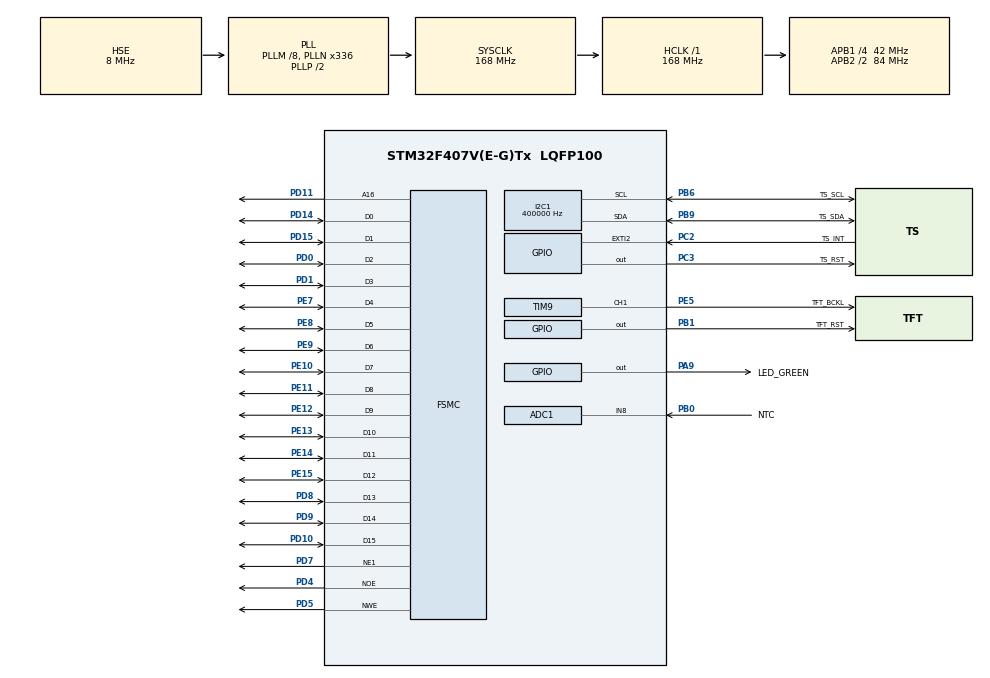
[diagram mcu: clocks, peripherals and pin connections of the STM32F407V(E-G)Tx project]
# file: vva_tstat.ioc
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ADC1.Channel-0\#ChannelRegularConversion=ADC_CHANNEL_8
ADC1.master=1
FSMC.AddressSetupTime1=2
FSMC.BusTurnAroundDuration1=1
FSMC.DataSetupTime1=5
I2C1.ClockSpeed=400000
Mcu.Family=STM32F4
Mcu.Name=STM32F407V(E-G)Tx
Mcu.Package=LQFP100
NVIC.ADC_IRQn=true\:2\:0\:true
NVIC.EXTI2_IRQn=true\:1\:0\:true
NVIC.PriorityGroup=NVIC_PRIORITYGROUP_2
PA13.GPIO_Label=SWDIO
PA13.Mode=Trace-Asynchronous_SW
PA13.Signal=SYS_JTMS-SWDIO
PA14.GPIO_Label=SWCLK
PA14.Mode=Trace-Asynchronous_SW
PA14.Signal=SYS_JTCK-SWCLK
PA9.GPIO_Label=LED_GREEN
PA9.GPIO_ModeDefaultOutputPP=GPIO_MODE_OUTPUT_PP
PA9.GPIO_PuPd=GPIO_NOPULL
PA9.GPIO_Speed=GPIO_SPEED_LOW
PA9.Signal=GPIO_Output
PB0.GPIO_Label=NTC
PB0.GPIO_Mode=GPIO_MODE_ANALOG
PB0.GPIO_PuPd=GPIO_NOPULL
PB0.Signal=ADCx_IN8
PB1.GPIO_Label=TFT_RST
PB1.GPIO_ModeDefaultOutputPP=GPIO_MODE_OUTPUT_PP
PB1.GPIO_PuPd=GPIO_NOPULL
PB1.GPIO_Speed=GPIO_SPEED_LOW
PB1.Signal=GPIO_Output
PB3.GPIO_Label=SWO
PB3.Mode=Trace-Asynchronous_SW
PB3.Signal=SYS_JTDO-SWO
PB6.GPIO_Label=TS_SCL
PB6.GPIO_Mode=GPIO_MODE_AF_OD
PB6.GPIO_PuPdOD=GPIO_PULLUP
PB6.GPIO_Speed=GPIO_SPEED_LOW
PB6.Mode=I2C
PB6.Signal=I2C1_SCL
PB9.GPIO_Label=TS_SDA
PB9.GPIO_Mode=GPIO_MODE_AF_OD
PB9.GPIO_PuPdOD=GPIO_PULLUP
PB9.GPIO_Speed=GPIO_SPEED_LOW
PB9.Mode=I2C
PB9.Signal=I2C1_SDA
PC2.GPIO_Label=TS_INT
PC2.GPIO_ModeDefaultEXTI=GPIO_MODE_IT_FALLING
PC2.GPIO_PuPd=GPIO_NOPULL
PC2.Signal=GPXTI2
PC3.GPIO_Label=TS_RST
PC3.GPIO_ModeDefaultOutputPP=GPIO_MODE_OUTPUT_PP
PC3.GPIO_PuPd=GPIO_NOPULL
PC3.GPIO_Speed=GPIO_SPEED_LOW
PC3.Signal=GPIO_Output
PD0.Signal=FSMC_D2_DA2
PD1.Signal=FSMC_D3_DA3
PD10.Signal=FSMC_D15_DA15
PD11.Signal=FSMC_A16_CLE
PD14.Signal=FSMC_D0_DA0
PD15.Signal=FSMC_D1_DA1
PD4.Signal=FSMC_NOE
PD5.Signal=FSMC_NWE
PD7.Mode=NorPsramChipSelect1_1
PD7.Signal=FSMC_NE1
PD8.Signal=FSMC_D13_DA13
PD9.Signal=FSMC_D14_DA14
PE10.Signal=FSMC_D7_DA7
PE11.Signal=FSMC_D8_DA8
PE12.Signal=FSMC_D9_DA9
PE13.Signal=FSMC_D10_DA10
PE14.Signal=FSMC_D11_DA11
PE15.Signal=FSMC_D12_DA12
PE5.GPIO_Label=TFT_BCKL
PE5.GPIO_ModeDefaultPP=GPIO_MODE_AF_PP
PE5.GPIO_PuPd=GPIO_NOPULL
PE5.GPIO_Speed=GPIO_SPEED_LOW
PE5.Signal=S_TIM9_CH1
PE7.Signal=FSMC_D4_DA4
PE8.Signal=FSMC_D5_DA5
PE9.Signal=FSMC_D6_DA6
PH0-OSC_IN.GPIO_Label=PH0-OSC_IN
PH0-OSC_IN.Mode=HSE-External-Oscillator
PH0-OSC_IN.Signal=RCC_OSC_IN
PH1-OSC_OUT.GPIO_Label=PH1-OSC_OUT
PH1-OSC_OUT.Mode=HSE-External-Oscillator
PH1-OSC_OUT.Signal=RCC_OSC_OUT
ProjectManager.TargetToolchain=TrueSTUDIO 4.3.1
RCC.48MHZClocksFreq_Value=48000000
RCC.AHBFreq_Value=168000000
RCC.APB1CLKDivider=RCC_HCLK_DIV4
RCC.APB1Freq_Value=42000000
RCC.APB1TimFreq_Value=84000000
RCC.APB2CLKDivider=RCC_HCLK_DIV2
RCC.APB2Freq_Value=84000000
RCC.APB2TimFreq_Value=168000000
RCC.CortexFreq_Value=21000000
RCC.HCLKFreq_Value=168000000
RCC.HSE_VALUE=8000000
RCC.HSI_VALUE=16000000
RCC.LSE_VALUE=32768
RCC.PLLM=8
RCC.PLLN=336
RCC.PLLQ=7
RCC.PLLSourceVirtual=RCC_PLLSOURCE_HSE
RCC.RCC_RTC_Clock_SourceVirtual=RCC_RTCCLKSOURCE_HSE_DIV8
RCC.RCC_RTC_Clock_Source_FROM_HSE=RCC_RTCCLKSOURCE_HSE_DIV8
RCC.SYSCLKFreq_VALUE=168000000
RCC.SYSCLKSource=RCC_SYSCLKSOURCE_PLLCLK
RCC.VCOOutputFreq_Value=336000000
RTC.Format=FORMAT_BIN
RTC.WakeUpClock=RTC_WAKEUPCLOCK_CK_SPRE_16BITS
SH.ADCx_IN8.0=ADC1_IN8,IN8
SH.FSMC_A16_CLE.0=FSMC_A16,A16_1
SH.FSMC_D0_DA0.0=FSMC_D0,16b-d1
SH.FSMC_D10_DA10.0=FSMC_D10,16b-d1
SH.FSMC_D11_DA11.0=FSMC_D11,16b-d1
SH.FSMC_D12_DA12.0=FSMC_D12,16b-d1
SH.FSMC_D13_DA13.0=FSMC_D13,16b-d1
SH.FSMC_D14_DA14.0=FSMC_D14,16b-d1
SH.FSMC_D15_DA15.0=FSMC_D15,16b-d1
SH.FSMC_D1_DA1.0=FSMC_D1,16b-d1
SH.FSMC_D2_DA2.0=FSMC_D2,16b-d1
SH.FSMC_D3_DA3.0=FSMC_D3,16b-d1
SH.FSMC_D4_DA4.0=FSMC_D4,16b-d1
SH.FSMC_D5_DA5.0=FSMC_D5,16b-d1
SH.FSMC_D6_DA6.0=FSMC_D6,16b-d1
SH.FSMC_D7_DA7.0=FSMC_D7,16b-d1
SH.FSMC_D8_DA8.0=FSMC_D8,16b-d1
SH.FSMC_D9_DA9.0=FSMC_D9,16b-d1
SH.FSMC_NOE.0=FSMC_NOE,Lcd1
SH.FSMC_NWE.0=FSMC_NWE,Lcd1
SH.S_TIM9_CH1.0=TIM9_CH1,PWM Generation1 CH1
TIM9.Period=1000
TIM9.Prescaler=168
TIM9.Pulse-PWM\ Generation1\ CH1=250
VP_CRC_VS_CRC.Mode=CRC_Activate
VP_RTC_VS_RTC_WakeUp_intern.Mode=WakeUp
VP_TIM9_VS_ClockSourceINT.Mode=Internal

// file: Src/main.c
/**
  ******************************************************************************
  * File Name          : main.c
  * Date               : 07/03/2015 11:48:12
  * Description        : Main program body
  ******************************************************************************
  *
  * COPYRIGHT(c) 2015 STMicroelectronics
  *
  * Redistribution and use in source and binary forms, with or without modification,
  * are permitted provided that the following conditions are met:
  *   1. Redistributions of source code must retain the above copyright notice,
  *      this list of conditions and the following disclaimer.
  *   2. Redistributions in binary form must reproduce the above copyright notice,
  *      this list of conditions and the following disclaimer in the documentation
  *      and/or other materials provided with the distribution.
  *   3. Neither the name of STMicroelectronics nor the names of its contributors
  *      may be used to endorse or promote products derived from this software
  *      without specific prior written permission.
  *
  * THIS SOFTWARE IS PROVIDED BY THE COPYRIGHT HOLDERS AND CONTRIBUTORS "AS IS"
  * AND ANY EXPRESS OR IMPLIED WARRANTIES, INCLUDING, BUT NOT LIMITED TO, THE
  * IMPLIED WARRANTIES OF MERCHANTABILITY AND FITNESS FOR A PARTICULAR PURPOSE ARE
  * DISCLAIMED. IN NO EVENT SHALL THE COPYRIGHT HOLDER OR CONTRIBUTORS BE LIABLE
  * FOR ANY DIRECT, INDIRECT, INCIDENTAL, SPECIAL, EXEMPLARY, OR CONSEQUENTIAL
  * DAMAGES (INCLUDING, BUT NOT LIMITED TO, PROCUREMENT OF SUBSTITUTE GOODS OR
  * SERVICES; LOSS OF USE, DATA, OR PROFITS; OR BUSINESS INTERRUPTION) HOWEVER
  * CAUSED AND ON ANY THEORY OF LIABILITY, WHETHER IN CONTRACT, STRICT LIABILITY,
  * OR TORT (INCLUDING NEGLIGENCE OR OTHERWISE) ARISING IN ANY WAY OUT OF THE USE
  * OF THIS SOFTWARE, EVEN IF ADVISED OF THE POSSIBILITY OF SUCH DAMAGE.
  *
  ******************************************************************************
  */

#include "stm32f4xx_hal.h"
#include "adc.h"
#include "crc.h"
#include "i2c.h"
#include "rtc.h"
#include "tim.h"
#include "gpio.h"
#include "fsmc.h"

/* USER CODE BEGIN Includes */
#include "main.h"
#include "ili_9341.h"
#include "ft6206.h"
// includes for GUI
#include "GUI.h"
#include "DIALOG.h"
#include "WM.h"

/* USER CODE END Includes */

/* USER CODE BEGIN PV */
GUI_PID_STATE TS_State;									// touch screen state
WM_HWIN hwin_home_scr;									// window handle home screen

/* USER CODE END PV */

void SystemClock_Config(void);

/* USER CODE BEGIN PFP */
extern WM_HWIN CreateHomeScreen(void);
extern WM_HWIN CreateSplashScreen(void);

void TFT_test(void);
void show_splash(void);
void update_touch(void);

/* USER CODE END PFP */

int main(void)
{

  /* MCU Configuration----------------------------------------------------------*/

  /* Reset of all peripherals, Initializes the Flash interface and the Systick. */
  HAL_Init();

  /* Configure the system clock */
  SystemClock_Config();

  /* Initialize all configured peripherals */
  MX_GPIO_Init();
  MX_ADC1_Init();
  MX_CRC_Init();
  MX_FSMC_Init();
  MX_I2C1_Init();
  MX_RTC_Init();
  MX_TIM9_Init();

  /* USER CODE BEGIN 2 */
  __CRC_CLK_ENABLE();										// need this for STemWin
  /* USER CODE END 2 */

  /* USER CODE BEGIN 3 */
  TFT_reset();													// reset TFT
  FT6206_begin(0);											// reset touch panel
  /* Infinite loop */
  GUI_Init();														// init GUI and set default skin
  BUTTON_SetDefaultSkin(BUTTON_SKIN_FLEX);
  SLIDER_SetDefaultSkin(SLIDER_SKIN_FLEX);
  PROGBAR_SetDefaultSkin(PROGBAR_SKIN_FLEX);

  show_splash();

  hwin_home_scr = CreateHomeScreen();		// create main window
  WM_ShowWindow(hwin_home_scr);					// display window

  while (1)
  {
 		update_touch();
  	GUI_Exec();
  }
  /* USER CODE END 3 */

}

/** System Clock Configuration
*/
void SystemClock_Config(void)
{

  RCC_OscInitTypeDef RCC_OscInitStruct;
  RCC_ClkInitTypeDef RCC_ClkInitStruct;
  RCC_PeriphCLKInitTypeDef PeriphClkInitStruct;

  __PWR_CLK_ENABLE();

  __HAL_PWR_VOLTAGESCALING_CONFIG(PWR_REGULATOR_VOLTAGE_SCALE1);

  RCC_OscInitStruct.OscillatorType = RCC_OSCILLATORTYPE_HSE;
  RCC_OscInitStruct.HSEState = RCC_HSE_ON;
  RCC_OscInitStruct.PLL.PLLState = RCC_PLL_ON;
  RCC_OscInitStruct.PLL.PLLSource = RCC_PLLSOURCE_HSE;
  RCC_OscInitStruct.PLL.PLLM = 8;
  RCC_OscInitStruct.PLL.PLLN = 336;
  RCC_OscInitStruct.PLL.PLLP = RCC_PLLP_DIV2;
  RCC_OscInitStruct.PLL.PLLQ = 7;
  HAL_RCC_OscConfig(&RCC_OscInitStruct);

  RCC_ClkInitStruct.ClockType = RCC_CLOCKTYPE_SYSCLK|RCC_CLOCKTYPE_PCLK1
                              |RCC_CLOCKTYPE_PCLK2;
  RCC_ClkInitStruct.SYSCLKSource = RCC_SYSCLKSOURCE_PLLCLK;
  RCC_ClkInitStruct.AHBCLKDivider = RCC_SYSCLK_DIV1;
  RCC_ClkInitStruct.APB1CLKDivider = RCC_HCLK_DIV4;
  RCC_ClkInitStruct.APB2CLKDivider = RCC_HCLK_DIV2;
  HAL_RCC_ClockConfig(&RCC_ClkInitStruct, FLASH_LATENCY_5);

  PeriphClkInitStruct.PeriphClockSelection = RCC_PERIPHCLK_RTC;
  PeriphClkInitStruct.RTCClockSelection = RCC_RTCCLKSOURCE_HSE_DIV8;
  HAL_RCCEx_PeriphCLKConfig(&PeriphClkInitStruct);

}

/* USER CODE BEGIN 4 */
void show_splash(void) {
	WM_HWIN hwin_splash_scr;
	PROGBAR_Handle hprogbar;
	uint8_t	i;

	hwin_splash_scr = CreateSplashScreen();
	WM_ShowWindow(hwin_splash_scr);					// display window
	/* Get handle of the progress bar */
	hprogbar = WM_GetDialogItem(hwin_splash_scr, (GUI_ID_USER + 0x01));
	for (i = 0; i < 100; i++) {
		PROGBAR_SetValue(hprogbar, i);
		GUI_Exec();
		HAL_Delay(10);
	}
	WM_DeleteWindow(hwin_splash_scr);
}

void update_touch(void){
	if (tstat_flags & (1 << TSTAT_TOUCHED)) {
		tstat_flags &= ~(1 << TSTAT_TOUCHED);	// clear bit
		FT6206_read_data();
		// swap XY & mirror Y
		TS_State.x = FT6206.touch_01_ypos;
		TS_State.y = 240 - FT6206.touch_01_xpos;
		TS_State.Pressed = 1;
		GUI_TOUCH_StoreStateEx(&TS_State);
	}
	else {
		if (ts_timer > 9) {
			ts_timer = 0;
			if (FT6206_touched()) {
				TS_State.Pressed = 1;
			}
			else {
				TS_State.Pressed = 0;
			}
			GUI_TOUCH_StoreStateEx(&TS_State);
		}
	}
}

void TFT_test(void){
	static uint8_t rotation = 0;
	switch (rotation) {
	case 0:
		LCD_REG = MEMORY_ACCESS_CONTROL;
		LCD_DATA =	ILI9341_MADCTL_MY |
								ILI9341_MADCTL_ML | ILI9341_MADCTL_BGR ;
		rotation = 1;
		break;
	case 1:
		LCD_REG = MEMORY_ACCESS_CONTROL;
		LCD_DATA =	ILI9341_MADCTL_MX | ILI9341_MADCTL_MY | ILI9341_MADCTL_MV |
								ILI9341_MADCTL_ML | ILI9341_MADCTL_BGR ;
		rotation = 2;
		break;
	case 2:
		LCD_REG = MEMORY_ACCESS_CONTROL;
		LCD_DATA =	ILI9341_MADCTL_MX |
								ILI9341_MADCTL_ML | ILI9341_MADCTL_BGR ;
		rotation = 3;
		break;
	default:
		LCD_REG = MEMORY_ACCESS_CONTROL;
		LCD_DATA =	ILI9341_MADCTL_MV |
								ILI9341_MADCTL_ML | ILI9341_MADCTL_BGR ;
		rotation = 0;
		break;
	}
	tft_fill_rect(  0,   0, 240,  320, RGB_BLACK);
	tft_fill_rect(  0,   0,  40,   40, RGB_WHITE);
	tft_fill_rect( 40,   0,  40,   40, RGB_SILVER);
	tft_fill_rect( 80,   0,  40,   40, RGB_RED);
	tft_fill_rect(120,   0,  40,   40, RGB_YELLOW);
	tft_fill_rect(160,   0,  40,   40, RGB_GREEN);
	tft_fill_rect(200,   0,  40,   40, RGB_BLUE);
	tft_fill_rect(  0,  40,  40,   40, RGB_MAROON);
	tft_fill_rect( 40,  40,  40,   40, RGB_OLIVE);
	tft_fill_rect( 80,  40,  40,   40, RGB_NAVY);
	tft_fill_rect(120,  40,  40,   40, RGB_PURPLE);
	tft_fill_rect(160,  40,  40,   40, RGB_TEAL);
	tft_fill_rect(200,  40,  40,   40, RGB_LIME);
}
/**
  * @brief Resets the TFT: Pin B 1 low for 5 milliseconds.
  * @retval None
  */
void TFT_reset(void){
  HAL_GPIO_WritePin(GPIOB, GPIO_PIN_1, GPIO_PIN_RESET);
  HAL_Delay(5);
  HAL_GPIO_WritePin(GPIOB, GPIO_PIN_1, GPIO_PIN_SET);
  ILI9341_init();
}
/**
  * @brief Resets the CTP: Pin C 3 low for 5 milliseconds.
  * @retval None
  */
void CTP_reset(void){
  HAL_GPIO_WritePin(GPIOC, GPIO_PIN_3, GPIO_PIN_RESET);
  HAL_Delay(5);
  HAL_GPIO_WritePin(GPIOC, GPIO_PIN_3, GPIO_PIN_SET);
}

/* USER CODE END 4 */

/************************ (C) COPYRIGHT STMicroelectronics *****END OF FILE****/
